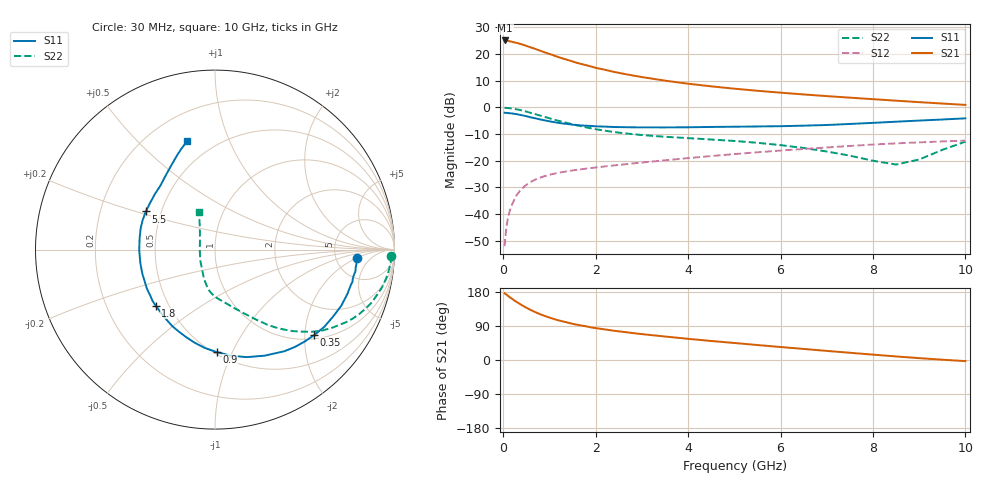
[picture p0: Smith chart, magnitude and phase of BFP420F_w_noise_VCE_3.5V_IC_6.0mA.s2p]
! (c) 2011  Infineon Technologies AG, Munich
! Infineon Technologies  Discrete & RF Semiconductors
! BFP420F
! VCE =  3.5 V,  IC =  6.0 mA
! Common Emitter S-Parameters:  Sep 2011
# GHz  S  MA  R  50
!  f  S11  S21  S12  S22
! GHz  MAG  ANG  MAG  ANG  MAG  ANG  MAG  ANG
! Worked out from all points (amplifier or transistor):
!   54 points, 30 MHz to 10 GHz, reference 50 ohm
!   highest |S21| = 25.1 dB at 40 MHz (marker M1)
!   |S21| within 3 dB of that: start of sweep to 663.2 MHz
!   unconditionally stable (mu >= 1): 2.441 GHz to end of sweep
!   at 120 MHz: K = 0.14, MSG = 32.6 dB, |S12| = -40.3 dB
!   at 1.3 GHz: K = 0.59, MSG = 21.2 dB, |S12| = -24.2 dB
!   at 10 GHz: K = 1.35, MAG = 3.2 dB, |S12| = -12.4 dB
!   lowest NFmin = 1.00 dB at 450 MHz
!   S11 on the Smith chart (normalised r, x): 30 MHz: 8.14, -2.14; 350 MHz: 1.10, -2.23; 900 MHz: 0.52, -0.87; 1.8 GHz: 0.42, -0.33; 5.5 GHz: 0.41, +0.22; 10 GHz: 0.36, +0.71
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0.03  0.7941 -3.5  18.06 176.1  0.0025 75.0  0.9831 -2.0
0.04  0.7904 -4.8  18.07 175.1  0.0032 81.7  0.9821 -2.6
0.1  0.7847 -12.1  17.82 169.4  0.0082 80.7  0.9755 -6.6
0.15  0.7783 -18.3  17.36 164.8  0.0121 79.3  0.9656 -9.9
0.25  0.7562 -29.7  16.54 156.4  0.0195 75.3  0.9359 -15.9
0.35  0.7298 -40.7  15.75 148.6  0.0265 70.7  0.8996 -21.6
0.45  0.7013 -50.8  14.81 141.4  0.0326 66.7  0.8582 -26.6
0.6  0.6519 -65.1  13.33 131.7  0.0402 61.3  0.7891 -33.3
0.7  0.6242 -73.7  12.48 126.0  0.0447 58.5  0.7471 -37.2
0.9  0.5709 -89.0  10.78 116.2  0.0516 53.9  0.6637 -43.5
1.2  0.5128 -108.5  8.77 104.5  0.0596 49.6  0.5615 -51.3
1.5  0.4758 -124.2  7.3 95.4  0.0658 47.2  0.4829 -57.0
1.7  0.4592 -132.8  6.499 90.8  0.0695 46.3  0.4403 -60.5
1.8  0.455 -136.7  6.185 88.7  0.0714 46.0  0.4227 -62.2
2.4  0.4297 -155.9  4.637 77.1  0.0818 44.8  0.3464 -71.2
3  0.4225 -170.1  3.716 68.3  0.0925 44.5  0.3035 -78.8
3.5  0.4222 -179.5  3.184 62.0  0.1021 44.1  0.282 -84.1
4.5  0.4309 164.0  2.489 50.2  0.1227 42.3  0.2505 -93.0
5.5  0.4399 151.1  2.057 39.5  0.1443 39.3  0.2175 -100.9
7  0.4688 130.4  1.633 24.0  0.1775 33.4  0.1491 -116.8
8.5  0.5407 115.5  1.34 9.4  0.2119 25.5  0.085 179.9
10  0.6248 104.3  1.117 -3.0  0.2391 17.2  0.2286 113.1
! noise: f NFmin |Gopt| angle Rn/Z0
0.45  1  0.17  17  0.17
0.9  1.02  0.18  42  0.16
1.9  1.19  0.16  110  0.13
2.4  1.27  0.18  119  0.15
3.5  1.56  0.23  155  0.19
